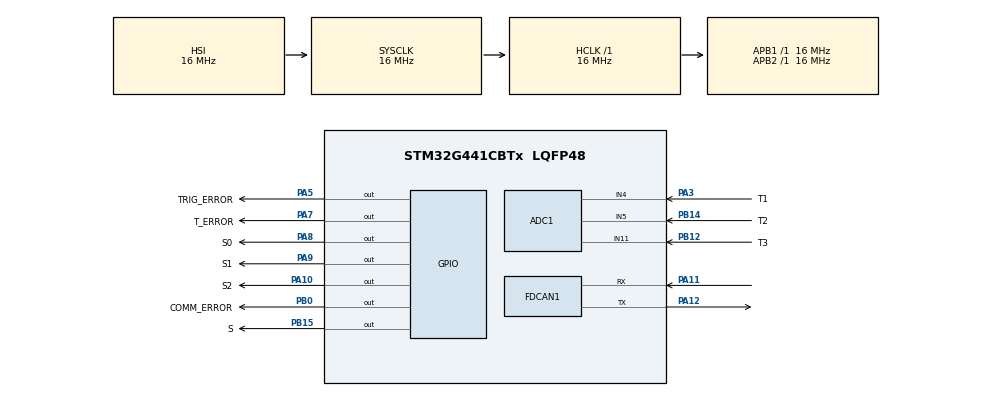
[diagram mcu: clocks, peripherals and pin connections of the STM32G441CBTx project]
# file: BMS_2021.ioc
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ADC1.Channel-1\#ChannelRegularConversion=ADC_CHANNEL_4
ADC1.Channel-2\#ChannelRegularConversion=ADC_CHANNEL_5
ADC1.Channel-3\#ChannelRegularConversion=ADC_CHANNEL_11
ADC1.ClockPrescaler=ADC_CLOCK_ASYNC_DIV8
ADC1.ContinuousConvMode=ENABLE
ADC1.DMAContinuousRequests=ENABLE
ADC1.NbrOfConversion=3
ADC1.NbrOfConversionFlag=1
ADC1.OffsetNumber-1\#ChannelRegularConversion=ADC_OFFSET_NONE
ADC1.OffsetNumber-2\#ChannelRegularConversion=ADC_OFFSET_NONE
ADC1.OffsetNumber-3\#ChannelRegularConversion=ADC_OFFSET_NONE
ADC1.Rank-1\#ChannelRegularConversion=1
ADC1.Rank-2\#ChannelRegularConversion=2
ADC1.Rank-3\#ChannelRegularConversion=3
ADC1.SamplingTime-1\#ChannelRegularConversion=ADC_SAMPLETIME_640CYCLES_5
ADC1.SamplingTime-2\#ChannelRegularConversion=ADC_SAMPLETIME_640CYCLES_5
ADC1.SamplingTime-3\#ChannelRegularConversion=ADC_SAMPLETIME_640CYCLES_5
ADC1.master=1
Dma.ADC1.0.Direction=DMA_PERIPH_TO_MEMORY
Dma.ADC1.0.EventEnable=DISABLE
Dma.ADC1.0.Instance=DMA1_Channel1
Dma.ADC1.0.MemDataAlignment=DMA_MDATAALIGN_WORD
Dma.ADC1.0.MemInc=DMA_MINC_ENABLE
Dma.ADC1.0.Mode=DMA_CIRCULAR
Dma.ADC1.0.PeriphDataAlignment=DMA_PDATAALIGN_WORD
Dma.ADC1.0.PeriphInc=DMA_PINC_DISABLE
Dma.ADC1.0.Polarity=HAL_DMAMUX_REQ_GEN_RISING
Dma.ADC1.0.Priority=DMA_PRIORITY_LOW
Dma.ADC1.0.RequestNumber=1
Dma.ADC1.0.SignalID=NONE
Dma.ADC1.0.SyncEnable=DISABLE
Dma.ADC1.0.SyncPolarity=HAL_DMAMUX_SYNC_NO_EVENT
Dma.ADC1.0.SyncRequestNumber=1
Dma.ADC1.0.SyncSignalID=NONE
Dma.Request0=ADC1
Mcu.Family=STM32G4
Mcu.Name=STM32G441CBTx
Mcu.Package=LQFP48
NVIC.ADC1_2_IRQn=true\:0\:0\:false\:false\:true\:true\:true
NVIC.DMA1_Channel1_IRQn=true\:0\:0\:false\:false\:true\:false\:true
NVIC.PriorityGroup=NVIC_PRIORITYGROUP_4
NVIC.TIM7_IRQn=true\:0\:0\:false\:false\:true\:true\:true
PA10.GPIO_Label=S2
PA10.Signal=GPIO_Output
PA11.Mode=FDCAN_Activate
PA11.Signal=FDCAN1_RX
PA12.Mode=FDCAN_Activate
PA12.Signal=FDCAN1_TX
PA3.GPIO_Label=T1
PA3.Mode=IN4-Single-Ended
PA3.Signal=ADC1_IN4
PA5.GPIO_Label=TRIG_ERROR
PA5.Signal=GPIO_Output
PA7.GPIO_Label=T_ERROR
PA7.Signal=GPIO_Output
PA8.GPIO_Label=S0
PA8.Signal=GPIO_Output
PA9.GPIO_Label=S1
PA9.Signal=GPIO_Output
PB0.GPIO_Label=COMM_ERROR
PB0.Signal=GPIO_Output
PB12.GPIO_Label=T3
PB12.Mode=IN11-Single-Ended
PB12.Signal=ADC1_IN11
PB14.GPIO_Label=T2
PB14.Mode=IN5-Single-Ended
PB14.Signal=ADC1_IN5
PB15.GPIO_Label=S
PB15.Signal=GPIO_Output
ProjectManager.HeapSize=0x200
ProjectManager.StackSize=0x400
ProjectManager.TargetToolchain=STM32CubeIDE
RCC.AHBFreq_Value=16000000
RCC.APB1Freq_Value=16000000
RCC.APB1TimFreq_Value=16000000
RCC.APB2Freq_Value=16000000
RCC.APB2TimFreq_Value=16000000
RCC.CortexFreq_Value=16000000
RCC.EXTERNAL_CLOCK_VALUE=12288000
RCC.HCLKFreq_Value=16000000
RCC.HSE_VALUE=8000000
RCC.HSI48_VALUE=48000000
RCC.HSI_VALUE=16000000
RCC.LSE_VALUE=32768
RCC.SYSCLKFreq_VALUE=16000000
RCC.USBFreq_Value=64000000
RCC.VCOOutputFreq_Value=128000000
TIM7.PeriodNoDither=9999
TIM7.Prescaler=499
VP_SYS_VS_DBSignals.Mode=DisableDeadBatterySignals
VP_TIM7_VS_ClockSourceINT.Mode=Enable_Timer
board=custom

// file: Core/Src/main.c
/* USER CODE BEGIN Header */
/**
  ******************************************************************************
  * @file           : main.c
  * @brief          : Main program body
  ******************************************************************************
  * @attention
  *
  * <h2><center>&copy; Copyright (c) 2021 STMicroelectronics.
  * All rights reserved.</center></h2>
  *
  * This software component is licensed by ST under BSD 3-Clause license,
  * the "License"; You may not use this file except in compliance with the
  * License. You may obtain a copy of the License at:
  *                        opensource.org/licenses/BSD-3-Clause
  *
  ******************************************************************************
  */
/* USER CODE END Header */
#include "main.h"

ADC_HandleTypeDef hadc1;
DMA_HandleTypeDef hdma_adc1;

FDCAN_HandleTypeDef hfdcan1;

TIM_HandleTypeDef htim7;

/* USER CODE BEGIN PV */

//FDCAN_RxHeaderTypeDef RxHeader;
FDCAN_TxHeaderTypeDef TxHeader;

//uint8_t RxData;
uint8_t TxData[] = {0x35, 0xE0};		//menssagem de temperatura 0x35
										//menssagem de erro comm 0xE0

/* USER CODE END PV */

void SystemClock_Config(void);
static void MX_GPIO_Init(void);
static void MX_DMA_Init(void);
static void MX_ADC1_Init(void);
static void MX_TIM7_Init(void);
static void MX_FDCAN1_Init(void);
/* USER CODE BEGIN PFP */

void Multiplex(void);
void Range_Temperature(float);

/* USER CODE END PFP */

/* USER CODE BEGIN 0 */

typedef struct{
	uint32_t ADC_raw;
	float voltages;
	float temp_celc;
}lm235;

uint32_t measurements[3] = {0};

lm235 temp_sens[3][8] = {0};
int MuxState=0;

/* USER CODE END 0 */

int main(void)
{

  /* MCU Configuration--------------------------------------------------------*/

  /* Reset of all peripherals, Initializes the Flash interface and the Systick. */
  HAL_Init();

  /* Configure the system clock */
  SystemClock_Config();

  /* Initialize all configured peripherals */
  MX_GPIO_Init();
  MX_DMA_Init();
  MX_ADC1_Init();
  MX_TIM7_Init();
  MX_FDCAN1_Init();
  /* USER CODE BEGIN 2 */

  HAL_ADC_Start_DMA(&hadc1, measurements, 3); // start adc in DMA mode

  /* USER CODE END 2 */

  /* Infinite loop */
  while (1)
  {

    /* USER CODE BEGIN 3 */

	Multiplex();

	for(int i = 0; i<3; i++){
		temp_sens[i][MuxState].ADC_raw = measurements[i];
		temp_sens[i][MuxState].voltages = (temp_sens[i][MuxState].ADC_raw/4095.0);
		temp_sens[i][MuxState].temp_celc = (temp_sens[i][MuxState].voltages/0.02)-45.9;
		Range_Temperature(temp_sens[i][MuxState].temp_celc);
	}

  }
  /* USER CODE END 3 */
}

void SystemClock_Config(void)
{
  RCC_OscInitTypeDef RCC_OscInitStruct = {0};
  RCC_ClkInitTypeDef RCC_ClkInitStruct = {0};
  RCC_PeriphCLKInitTypeDef PeriphClkInit = {0};

  /** Configure the main internal regulator output voltage
  */
  HAL_PWREx_ControlVoltageScaling(PWR_REGULATOR_VOLTAGE_SCALE1);
  /** Initializes the RCC Oscillators according to the specified parameters
  * in the RCC_OscInitTypeDef structure.
  */
  RCC_OscInitStruct.OscillatorType = RCC_OSCILLATORTYPE_HSI;
  RCC_OscInitStruct.HSIState = RCC_HSI_ON;
  RCC_OscInitStruct.HSICalibrationValue = RCC_HSICALIBRATION_DEFAULT;
  RCC_OscInitStruct.PLL.PLLState = RCC_PLL_NONE;
  if (HAL_RCC_OscConfig(&RCC_OscInitStruct) != HAL_OK)
  {
    Error_Handler();
  }
  /** Initializes the CPU, AHB and APB buses clocks
  */
  RCC_ClkInitStruct.ClockType = RCC_CLOCKTYPE_HCLK|RCC_CLOCKTYPE_SYSCLK
                              |RCC_CLOCKTYPE_PCLK1|RCC_CLOCKTYPE_PCLK2;
  RCC_ClkInitStruct.SYSCLKSource = RCC_SYSCLKSOURCE_HSI;
  RCC_ClkInitStruct.AHBCLKDivider = RCC_SYSCLK_DIV1;
  RCC_ClkInitStruct.APB1CLKDivider = RCC_HCLK_DIV1;
  RCC_ClkInitStruct.APB2CLKDivider = RCC_HCLK_DIV1;

  if (HAL_RCC_ClockConfig(&RCC_ClkInitStruct, FLASH_LATENCY_0) != HAL_OK)
  {
    Error_Handler();
  }
  /** Initializes the peripherals clocks
  */
  PeriphClkInit.PeriphClockSelection = RCC_PERIPHCLK_ADC12|RCC_PERIPHCLK_FDCAN;
  PeriphClkInit.FdcanClockSelection = RCC_FDCANCLKSOURCE_PCLK1;
  PeriphClkInit.Adc12ClockSelection = RCC_ADC12CLKSOURCE_SYSCLK;
  if (HAL_RCCEx_PeriphCLKConfig(&PeriphClkInit) != HAL_OK)
  {
    Error_Handler();
  }
}

static void MX_ADC1_Init(void)
{

  ADC_MultiModeTypeDef multimode = {0};
  ADC_ChannelConfTypeDef sConfig = {0};

  /** Common config
  */
  hadc1.Instance = ADC1;
  hadc1.Init.ClockPrescaler = ADC_CLOCK_ASYNC_DIV8;
  hadc1.Init.Resolution = ADC_RESOLUTION_12B;
  hadc1.Init.DataAlign = ADC_DATAALIGN_RIGHT;
  hadc1.Init.GainCompensation = 0;
  hadc1.Init.ScanConvMode = ADC_SCAN_ENABLE;
  hadc1.Init.EOCSelection = ADC_EOC_SINGLE_CONV;
  hadc1.Init.LowPowerAutoWait = DISABLE;
  hadc1.Init.ContinuousConvMode = ENABLE;
  hadc1.Init.NbrOfConversion = 3;
  hadc1.Init.DiscontinuousConvMode = DISABLE;
  hadc1.Init.ExternalTrigConv = ADC_SOFTWARE_START;
  hadc1.Init.ExternalTrigConvEdge = ADC_EXTERNALTRIGCONVEDGE_NONE;
  hadc1.Init.DMAContinuousRequests = ENABLE;
  hadc1.Init.Overrun = ADC_OVR_DATA_PRESERVED;
  hadc1.Init.OversamplingMode = DISABLE;
  if (HAL_ADC_Init(&hadc1) != HAL_OK)
  {
    Error_Handler();
  }
  /** Configure the ADC multi-mode
  */
  multimode.Mode = ADC_MODE_INDEPENDENT;
  if (HAL_ADCEx_MultiModeConfigChannel(&hadc1, &multimode) != HAL_OK)
  {
    Error_Handler();
  }
  /** Configure Regular Channel
  */
  sConfig.Channel = ADC_CHANNEL_4;
  sConfig.Rank = ADC_REGULAR_RANK_1;
  sConfig.SamplingTime = ADC_SAMPLETIME_640CYCLES_5;
  sConfig.SingleDiff = ADC_SINGLE_ENDED;
  sConfig.OffsetNumber = ADC_OFFSET_NONE;
  sConfig.Offset = 0;
  if (HAL_ADC_ConfigChannel(&hadc1, &sConfig) != HAL_OK)
  {
    Error_Handler();
  }
  /** Configure Regular Channel
  */
  sConfig.Channel = ADC_CHANNEL_5;
  sConfig.Rank = ADC_REGULAR_RANK_2;
  if (HAL_ADC_ConfigChannel(&hadc1, &sConfig) != HAL_OK)
  {
    Error_Handler();
  }
  /** Configure Regular Channel
  */
  sConfig.Channel = ADC_CHANNEL_11;
  sConfig.Rank = ADC_REGULAR_RANK_3;
  if (HAL_ADC_ConfigChannel(&hadc1, &sConfig) != HAL_OK)
  {
    Error_Handler();
  }

}

static void MX_FDCAN1_Init(void)
{

  hfdcan1.Instance = FDCAN1;
  hfdcan1.Init.ClockDivider = FDCAN_CLOCK_DIV1;
  hfdcan1.Init.FrameFormat = FDCAN_FRAME_CLASSIC;
  hfdcan1.Init.Mode = FDCAN_MODE_NORMAL;
  hfdcan1.Init.AutoRetransmission = DISABLE;
  hfdcan1.Init.TransmitPause = DISABLE;
  hfdcan1.Init.ProtocolException = DISABLE;
  hfdcan1.Init.NominalPrescaler = 1;
  hfdcan1.Init.NominalSyncJumpWidth = 1;
  hfdcan1.Init.NominalTimeSeg1 = 2;
  hfdcan1.Init.NominalTimeSeg2 = 2;
  hfdcan1.Init.DataPrescaler = 1;
  hfdcan1.Init.DataSyncJumpWidth = 1;
  hfdcan1.Init.DataTimeSeg1 = 1;
  hfdcan1.Init.DataTimeSeg2 = 1;
  hfdcan1.Init.StdFiltersNbr = 0;
  hfdcan1.Init.ExtFiltersNbr = 0;
  hfdcan1.Init.TxFifoQueueMode = FDCAN_TX_FIFO_OPERATION;
  if (HAL_FDCAN_Init(&hfdcan1) != HAL_OK)
  {
    Error_Handler();
  }

}

static void MX_TIM7_Init(void)
{

  TIM_MasterConfigTypeDef sMasterConfig = {0};

  htim7.Instance = TIM7;
  htim7.Init.Prescaler = 499;
  htim7.Init.CounterMode = TIM_COUNTERMODE_UP;
  htim7.Init.Period = 9999;
  htim7.Init.AutoReloadPreload = TIM_AUTORELOAD_PRELOAD_DISABLE;
  if (HAL_TIM_Base_Init(&htim7) != HAL_OK)
  {
    Error_Handler();
  }
  sMasterConfig.MasterOutputTrigger = TIM_TRGO_RESET;
  sMasterConfig.MasterSlaveMode = TIM_MASTERSLAVEMODE_DISABLE;
  if (HAL_TIMEx_MasterConfigSynchronization(&htim7, &sMasterConfig) != HAL_OK)
  {
    Error_Handler();
  }

}

static void MX_DMA_Init(void)
{

  /* DMA controller clock enable */
  __HAL_RCC_DMAMUX1_CLK_ENABLE();
  __HAL_RCC_DMA1_CLK_ENABLE();

  /* DMA interrupt init */
  /* DMA1_Channel1_IRQn interrupt configuration */
  HAL_NVIC_SetPriority(DMA1_Channel1_IRQn, 0, 0);
  HAL_NVIC_EnableIRQ(DMA1_Channel1_IRQn);

}

static void MX_GPIO_Init(void)
{
  GPIO_InitTypeDef GPIO_InitStruct = {0};

  /* GPIO Ports Clock Enable */
  __HAL_RCC_GPIOA_CLK_ENABLE();
  __HAL_RCC_GPIOB_CLK_ENABLE();

  /*Configure GPIO pin Output Level */
  HAL_GPIO_WritePin(GPIOA, TRIG_ERROR_Pin|T_ERROR_Pin|S0_Pin|S1_Pin
                          |S2_Pin, GPIO_PIN_RESET);

  /*Configure GPIO pin Output Level */
  HAL_GPIO_WritePin(GPIOB, COMM_ERROR_Pin|S_Pin, GPIO_PIN_RESET);

  /*Configure GPIO pins : TRIG_ERROR_Pin T_ERROR_Pin S0_Pin S1_Pin
                           S2_Pin */
  GPIO_InitStruct.Pin = TRIG_ERROR_Pin|T_ERROR_Pin|S0_Pin|S1_Pin
                          |S2_Pin;
  GPIO_InitStruct.Mode = GPIO_MODE_OUTPUT_PP;
  GPIO_InitStruct.Pull = GPIO_NOPULL;
  GPIO_InitStruct.Speed = GPIO_SPEED_FREQ_LOW;
  HAL_GPIO_Init(GPIOA, &GPIO_InitStruct);

  /*Configure GPIO pins : COMM_ERROR_Pin S_Pin */
  GPIO_InitStruct.Pin = COMM_ERROR_Pin|S_Pin;
  GPIO_InitStruct.Mode = GPIO_MODE_OUTPUT_PP;
  GPIO_InitStruct.Pull = GPIO_NOPULL;
  GPIO_InitStruct.Speed = GPIO_SPEED_FREQ_LOW;
  HAL_GPIO_Init(GPIOB, &GPIO_InitStruct);

}

/* USER CODE BEGIN 4 */

void Multiplex()
{
	switch(MuxState){
		case'0':
			HAL_GPIO_WritePin(S0_GPIO_Port, S0_Pin, GPIO_PIN_RESET);
			HAL_GPIO_WritePin(S1_GPIO_Port, S1_Pin, GPIO_PIN_RESET);
			HAL_GPIO_WritePin(S2_GPIO_Port, S2_Pin, GPIO_PIN_RESET);
			break;
		case'1':
			HAL_GPIO_WritePin(S0_GPIO_Port, S0_Pin, GPIO_PIN_SET);
			HAL_GPIO_WritePin(S1_GPIO_Port, S1_Pin, GPIO_PIN_RESET);
			HAL_GPIO_WritePin(S2_GPIO_Port, S2_Pin, GPIO_PIN_RESET);
			break;
		case'2':
			HAL_GPIO_WritePin(S0_GPIO_Port, S0_Pin, GPIO_PIN_RESET);
			HAL_GPIO_WritePin(S1_GPIO_Port, S1_Pin, GPIO_PIN_SET);
			HAL_GPIO_WritePin(S2_GPIO_Port, S2_Pin, GPIO_PIN_RESET);
			break;
		case'3':
			HAL_GPIO_WritePin(S0_GPIO_Port, S0_Pin, GPIO_PIN_SET);
			HAL_GPIO_WritePin(S1_GPIO_Port, S1_Pin, GPIO_PIN_SET);
			HAL_GPIO_WritePin(S2_GPIO_Port, S2_Pin, GPIO_PIN_RESET);
			break;
		case'4':
			HAL_GPIO_WritePin(S0_GPIO_Port, S0_Pin, GPIO_PIN_RESET);
			HAL_GPIO_WritePin(S1_GPIO_Port, S1_Pin, GPIO_PIN_RESET);
			HAL_GPIO_WritePin(S2_GPIO_Port, S2_Pin, GPIO_PIN_SET);
			break;
		case'5':
			HAL_GPIO_WritePin(S0_GPIO_Port, S0_Pin, GPIO_PIN_SET);
			HAL_GPIO_WritePin(S1_GPIO_Port, S1_Pin, GPIO_PIN_RESET);
			HAL_GPIO_WritePin(S2_GPIO_Port, S2_Pin, GPIO_PIN_SET);
			break;
		case'6':
			HAL_GPIO_WritePin(S0_GPIO_Port, S0_Pin, GPIO_PIN_RESET);
			HAL_GPIO_WritePin(S1_GPIO_Port, S1_Pin, GPIO_PIN_SET);
			HAL_GPIO_WritePin(S2_GPIO_Port, S2_Pin, GPIO_PIN_SET);
			break;
		case'7':
			HAL_GPIO_WritePin(S0_GPIO_Port, S0_Pin, GPIO_PIN_SET);
			HAL_GPIO_WritePin(S1_GPIO_Port, S1_Pin, GPIO_PIN_SET);
			HAL_GPIO_WritePin(S2_GPIO_Port, S2_Pin, GPIO_PIN_SET);
			break;
	}

}

void Range_Temperature(float cell_temperature)
{
	if(cell_temperature >= 60)		//verifica se é maior que 60ºC - limite tolerável
	{
		HAL_GPIO_WritePin(T_ERROR_GPIO_Port, T_ERROR_Pin, GPIO_PIN_SET);		// led para erro em temp
		HAL_GPIO_WritePin(TRIG_ERROR_GPIO_Port, TRIG_ERROR_Pin, GPIO_PIN_SET);	// abre o shutdown

		//Envia via Can menssagem de erro para temperatura > 60ºC
		HAL_GPIO_WritePin(S_GPIO_Port, S_Pin, GPIO_PIN_RESET);
		HAL_FDCAN_AddMessageToTxFifoQ(&hfdcan1, &TxHeader, &TxData[0]);
		HAL_GPIO_WritePin(S_GPIO_Port, S_Pin, GPIO_PIN_SET);
	}
}

void HAL_TIM_PeriodElapsedCallback(TIM_HandleTypeDef *htim)
{
	if (htim->Instance==TIM7)
	{
		MuxState++;
		if(MuxState==8)
			MuxState=0;
	}
}

/* USER CODE END 4 */

void Error_Handler(void)
{
  /* USER CODE BEGIN Error_Handler_Debug */

	HAL_GPIO_WritePin(COMM_ERROR_GPIO_Port, COMM_ERROR_Pin, GPIO_PIN_SET);

	//Envia via Can menssagem de erro para comunicação
	HAL_GPIO_WritePin(S_GPIO_Port, S_Pin, GPIO_PIN_RESET);
	HAL_FDCAN_AddMessageToTxFifoQ(&hfdcan1, &TxHeader, &TxData[1]);
	HAL_GPIO_WritePin(S_GPIO_Port, S_Pin, GPIO_PIN_SET);

  /* User can add his own implementation to report the HAL error return state */
  __disable_irq();
  while (1)
  {
  }
  /* USER CODE END Error_Handler_Debug */
}

/************************ (C) COPYRIGHT STMicroelectronics *****END OF FILE****/
